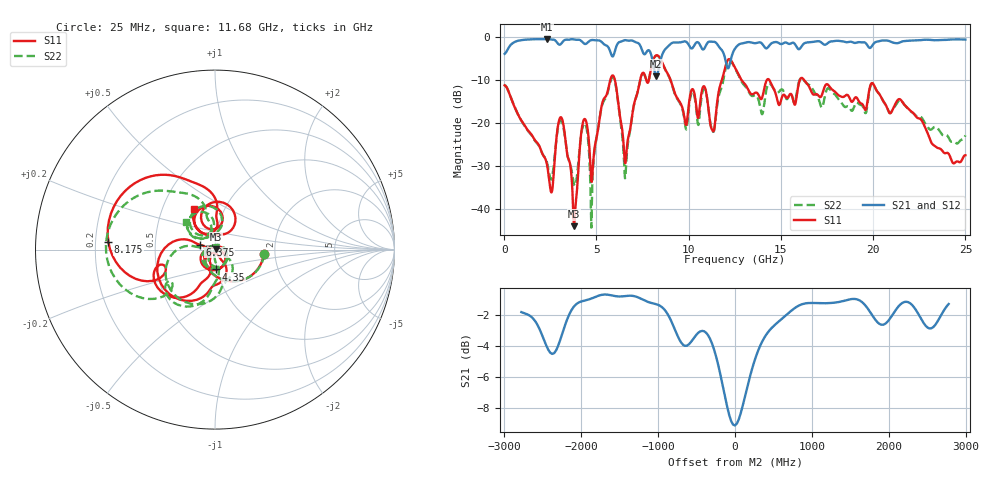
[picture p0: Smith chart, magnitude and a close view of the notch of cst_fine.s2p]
! RG_s4_pwr_n4: Finite board 24 × 16 mm, via L1 → L4 through the GND/PWR pair L2/L3, four GND vias at 1 mm joined to L2 only (openings in the PWR plane L3)
! stackup: 4-layer 1.6 mm FR-4
! ports: 1 L1, 2 L4
! CST Studio Suite 2025.5 Release from 2025-05-30, time domain (FIT, hexahedral, PBA), 716760 mesh cells, 218 s
! mesh: {'lpw': 30.0, 'lpb': 30.0, 'minstep': 0.0, 'ratio': 20}; ports: port 1 (face); port 2 (face)
! interpolated from CST's 1001 samples to the case grid
# Hz S RI R 50
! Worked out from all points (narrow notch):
!   1000 points, 25 MHz to 25 GHz, reference 50 ohm
!   highest |S21| = -0.47 dB at 2.3 GHz (marker M1); lowest = -9.1 dB at 8.25 GHz (marker M2)
!   notch at M2: 7.9 dB deep, 464 MHz wide at half that depth
!   lowest |S11| = -44.2 dB at 3.8 GHz (marker M3), VSWR 1.01, Z = 50.5 + j0.3 ohm
!   |S11| at or under -10 dB: start of sweep to 5.754 GHz; 9.018 GHz to 11.8 GHz (2.784 GHz wide, 26.7 % of centre); 16.25 GHz to end of sweep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
!   |S22| runs from -44.5 to -4.3 dB; largest |S21 - S12| = 0.0071
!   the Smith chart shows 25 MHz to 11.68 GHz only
!   S11 on the Smith chart (normalised r, x): 25 MHz: 1.75, -0.09; 4.35 GHz: 0.99, -0.22; 6.375 GHz: 0.84, +0.05; 8.175 GHz: 0.25, +0.03; 11.68 GHz: 0.72, +0.35
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2.5e7  0.2725 -0.0247  0.6373 0.0152  0.6375 0.0152  0.2751 -0.0246
2.3e9  -0.0323 0.0114  0.5733 -0.7547  0.5733 -0.7546  -0.0332 0.0138
2.575e9  -0.00407 0.0149  0.4606 -0.8163  0.4601 -0.8177  -0.00457 0.0217
3.1e9  -0.0471 -0.1052  0.3236 -0.7757  0.3217 -0.7789  -0.0366 -0.0989
3.8e9  0.00543 0.00297  0.0236 -0.9376  0.0242 -0.9384  0.00705 0.0174
4.2e9  0.0575 -0.0603  -0.1799 -0.8752  -0.1772 -0.8758  0.0694 -0.0368
4.35e9  0.00617 -0.1106  -0.1871 -0.8135  -0.1885 -0.8158  0.0318 -0.0933
4.75e9  -0.0011 -0.0205  -0.3137 -0.8699  -0.3126 -0.8702  0.00936 -0.00565
5.825e9  -0.2229 -0.2678  -0.4607 -0.4027  -0.4619 -0.4076  -0.1342 -0.3017
6.375e9  -0.0861 0.0277  -0.6896 -0.5669  -0.6915 -0.5677  -0.0784 0.0112
6.6e9  -0.0266 -0.027  -0.801 -0.4531  -0.8004 -0.4537  -0.00816 -0.0277
8.175e9  -0.5944 0.0436  -0.3641 0.0995  -0.3667 0.1022  -0.5745 -0.1289
8.25e9  -0.5907 0.1627  -0.3494 0.00824  -0.3493 0.0112  -0.6066 -0.0145
8.35e9  -0.5249 0.3  -0.3916 -0.1002  -0.39 -0.099  -0.5834 0.1358
9.825e9  -0.0109 0.0976  -0.7236 0.519  -0.7222 0.5175  -0.0302 0.0853
1.13e10  0.00466 0.0808  -0.2839 0.8349  -0.2841 0.8359  -0.0223 0.0773
1.1675e10  -0.1194 0.2273  -0.00956 0.7555  -0.00852 0.7559  -0.1622 0.152
1.2525e10  0.4082 0.1483  -0.196 0.714  -0.1965 0.7146  0.3063 0.3001
1.395e10  0.1879 -0.0284  0.4957 0.6904  0.495 0.6911  0.1286 0.0152
1.6675e10  -0.03 -0.2239  0.8748 -0.00443  0.8749 -0.00469  0.0357 -0.2541
2.085e10  -0.1321 0.0205  -0.1307 -0.8929  -0.1307 -0.8928  -0.1236 -0.0519
2.5e10  0.0124 -0.04  -0.9026 0.2385  -0.9026 0.2383  -0.0654 -0.0289
